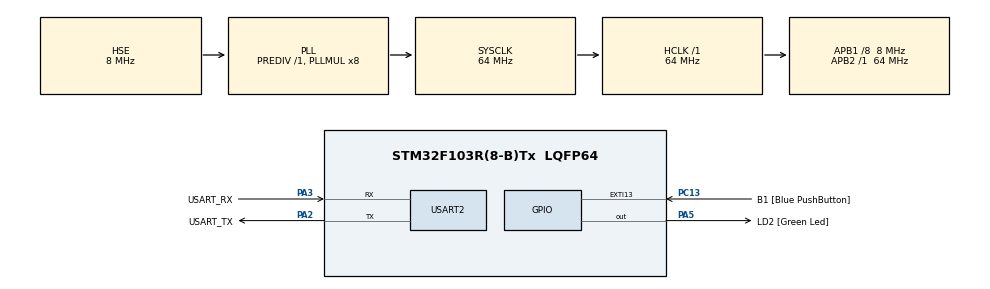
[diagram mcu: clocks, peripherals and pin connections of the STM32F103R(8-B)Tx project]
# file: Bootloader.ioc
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Mcu.Family=STM32F1
Mcu.Name=STM32F103R(8-B)Tx
Mcu.Package=LQFP64
NVIC.EXTI15_10_IRQn=true\:0\:0\:false\:false\:true\:true\:true\:true
NVIC.PriorityGroup=NVIC_PRIORITYGROUP_4
PA13.GPIO_Label=TMS
PA13.Mode=Serial_Wire
PA13.Signal=SYS_JTMS-SWDIO
PA14.GPIO_Label=TCK
PA14.Mode=Serial_Wire
PA14.Signal=SYS_JTCK-SWCLK
PA2.GPIO_Label=USART_TX
PA2.GPIO_Mode=GPIO_MODE_AF_PP
PA2.GPIO_PuPd=GPIO_NOPULL
PA2.GPIO_Speed=GPIO_SPEED_FREQ_LOW
PA2.Mode=Asynchronous
PA2.Signal=USART2_TX
PA3.GPIO_Label=USART_RX
PA3.GPIO_Mode=GPIO_MODE_AF_PP
PA3.GPIO_PuPd=GPIO_NOPULL
PA3.GPIO_Speed=GPIO_SPEED_FREQ_LOW
PA3.Mode=Asynchronous
PA3.Signal=USART2_RX
PA5.GPIO_Label=LD2 [Green Led]
PA5.GPIO_ModeDefaultOutputPP=GPIO_MODE_OUTPUT_PP
PA5.GPIO_PuPd=GPIO_NOPULL
PA5.GPIO_Speed=GPIO_SPEED_FREQ_LOW
PA5.Signal=GPIO_Output
PB3.GPIO_Label=SWO
PB3.Signal=SYS_JTDO-TRACESWO
PC13-TAMPER-RTC.GPIO_Label=B1 [Blue PushButton]
PC13-TAMPER-RTC.GPIO_PuPd=GPIO_NOPULL
PC13-TAMPER-RTC.Signal=GPXTI13
PC14-OSC32_IN.Mode=LSE-External-Oscillator
PC14-OSC32_IN.Signal=RCC_OSC32_IN
PC15-OSC32_OUT.Mode=LSE-External-Oscillator
PC15-OSC32_OUT.Signal=RCC_OSC32_OUT
PD0-OSC_IN.Mode=HSE-External-Oscillator
PD0-OSC_IN.Signal=RCC_OSC_IN
PD1-OSC_OUT.Mode=HSE-External-Oscillator
PD1-OSC_OUT.Signal=RCC_OSC_OUT
ProjectManager.HeapSize=0x200
ProjectManager.StackSize=0x400
ProjectManager.TargetToolchain=STM32CubeIDE
RCC.AHBFreq_Value=64000000
RCC.APB1CLKDivider=RCC_HCLK_DIV8
RCC.APB1Freq_Value=8000000
RCC.APB1TimFreq_Value=16000000
RCC.APB2Freq_Value=64000000
RCC.APB2TimFreq_Value=64000000
RCC.HCLKFreq_Value=64000000
RCC.PLLMUL=RCC_PLL_MUL8
RCC.PLLSourceVirtual=RCC_PLLSOURCE_HSE
RCC.RTCClockSelection=RCC_RTCCLKSOURCE_LSE
RCC.SYSCLKFreq_VALUE=64000000
RCC.SYSCLKSource=RCC_SYSCLKSOURCE_PLLCLK
RCC.USBFreq_Value=64000000
USART2.VirtualMode=VM_ASYNC
board=NUCLEO-F103RB

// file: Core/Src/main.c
/* USER CODE BEGIN Header */
/**
  ******************************************************************************
  * @file           : main.c
  * @brief          : Main program body
  ******************************************************************************
  * @attention
  *
  * Copyright (c) 2024 STMicroelectronics.
  * All rights reserved.
  *
  * This software is licensed under terms that can be found in the LICENSE file
  * in the root directory of this software component.
  * If no LICENSE file comes with this software, it is provided AS-IS.
  *
  ******************************************************************************
  */
/* USER CODE END Header */
#include "main.h"
#include "usart.h"
#include "gpio.h"

/* USER CODE BEGIN PTD */
typedef void (*pFunction)(void);
/* USER CODE END PTD */

/* USER CODE BEGIN PD */
#define APPLICATION_A_ADDRESS 0x8008000 /*Partition A address */
#define APPLICATION_B_ADDRESS 0x8014000 /*Partition B address */
#define BOOT_FLAG_ADDR BKP->DR1 /*Boot flag address*/

#define BOOT_FLAG_A 0x01 /* Partition A activate */
#define BOOT_FLAG_B 0x02 /* Partition B activate */
/* USER CODE END PD */

void SystemClock_Config(void);
void JumpToApplication(uint32_t appAddress);
void ConfigureBackupDomain(void);

int main(void)
{

  /* MCU Configuration--------------------------------------------------------*/

  /* Reset of all peripherals, Initializes the Flash interface and the Systick. */
  HAL_Init();

  /* Configure the system clock */
  SystemClock_Config();
  ConfigureBackupDomain();

  /* Initialize all configured peripherals */
  MX_GPIO_Init();
  MX_USART2_UART_Init();
  /* USER CODE BEGIN 2 */
  uint32_t boot_flag = BOOT_FLAG_ADDR;
  if (boot_flag != BOOT_FLAG_A && boot_flag != BOOT_FLAG_B){
	  boot_flag = BOOT_FLAG_A;
	  BOOT_FLAG_ADDR = boot_flag;
  }
  uint32_t appAddress;
  if (boot_flag == BOOT_FLAG_A){
	  appAddress = APPLICATION_A_ADDRESS;
	  for (int i = 0; i < 1; i++){
		  HAL_GPIO_WritePin(GPIOA, LD2_Pin, GPIO_PIN_SET);
		  HAL_Delay(500);
		  HAL_GPIO_WritePin(GPIOA, LD2_Pin, GPIO_PIN_RESET);
		  HAL_Delay(500);
	  }
  }
  else if (boot_flag == BOOT_FLAG_B){
	  appAddress = APPLICATION_B_ADDRESS;
	  for (int i = 0; i < 2; i++){
		  HAL_GPIO_WritePin(GPIOA, LD2_Pin, GPIO_PIN_SET);
		  HAL_Delay(500);
		  HAL_GPIO_WritePin(GPIOA, LD2_Pin, GPIO_PIN_RESET);
		  HAL_Delay(500);
	  }
  }
  HAL_Delay(1000);
  JumpToApplication(appAddress);
  /* USER CODE END 2 */

  /* Infinite loop */
  while (1)
  {
  }
}

void SystemClock_Config(void)
{
  RCC_OscInitTypeDef RCC_OscInitStruct = {0};
  RCC_ClkInitTypeDef RCC_ClkInitStruct = {0};

  /** Initializes the RCC Oscillators according to the specified parameters
  * in the RCC_OscInitTypeDef structure.
  */
  RCC_OscInitStruct.OscillatorType = RCC_OSCILLATORTYPE_HSE;
  RCC_OscInitStruct.HSEState = RCC_HSE_ON;
  RCC_OscInitStruct.HSEPredivValue = RCC_HSE_PREDIV_DIV1;
  RCC_OscInitStruct.HSIState = RCC_HSI_ON;
  RCC_OscInitStruct.PLL.PLLState = RCC_PLL_ON;
  RCC_OscInitStruct.PLL.PLLSource = RCC_PLLSOURCE_HSE;
  RCC_OscInitStruct.PLL.PLLMUL = RCC_PLL_MUL8;
  if (HAL_RCC_OscConfig(&RCC_OscInitStruct) != HAL_OK)
  {
    Error_Handler();
  }

  /** Initializes the CPU, AHB and APB buses clocks
  */
  RCC_ClkInitStruct.ClockType = RCC_CLOCKTYPE_HCLK|RCC_CLOCKTYPE_SYSCLK
                              |RCC_CLOCKTYPE_PCLK1|RCC_CLOCKTYPE_PCLK2;
  RCC_ClkInitStruct.SYSCLKSource = RCC_SYSCLKSOURCE_PLLCLK;
  RCC_ClkInitStruct.AHBCLKDivider = RCC_SYSCLK_DIV1;
  RCC_ClkInitStruct.APB1CLKDivider = RCC_HCLK_DIV8;
  RCC_ClkInitStruct.APB2CLKDivider = RCC_HCLK_DIV1;

  if (HAL_RCC_ClockConfig(&RCC_ClkInitStruct, FLASH_LATENCY_2) != HAL_OK)
  {
    Error_Handler();
  }
}

/* USER CODE BEGIN 4 */
void JumpToApplication(uint32_t appAddress){
  uint32_t appStack = *(__IO uint32_t*)appAddress;
  uint32_t appEntry = *(__IO uint32_t*)(appAddress + 4);
  pFunction appResetHandler = (pFunction)appEntry;

  __disable_irq();

  HAL_DeInit();

  __set_MSP(appStack);

  SCB->VTOR = appAddress;

  __enable_irq();
  appResetHandler();
}

void ConfigureBackupDomain(void){
	__HAL_RCC_PWR_CLK_ENABLE();
	HAL_PWR_EnableBkUpAccess();

	__HAL_RCC_LSE_CONFIG(RCC_LSE_ON);
	while(__HAL_RCC_GET_FLAG(RCC_FLAG_LSERDY) == RESET) {}

	__HAL_RCC_RTC_CONFIG(RCC_RTCCLKSOURCE_LSE);
	__HAL_RCC_RTC_ENABLE();

	__HAL_RCC_BKP_CLK_ENABLE();
}
/* USER CODE END 4 */

void Error_Handler(void)
{
  __disable_irq();
  while (1)
  {
  }
}
